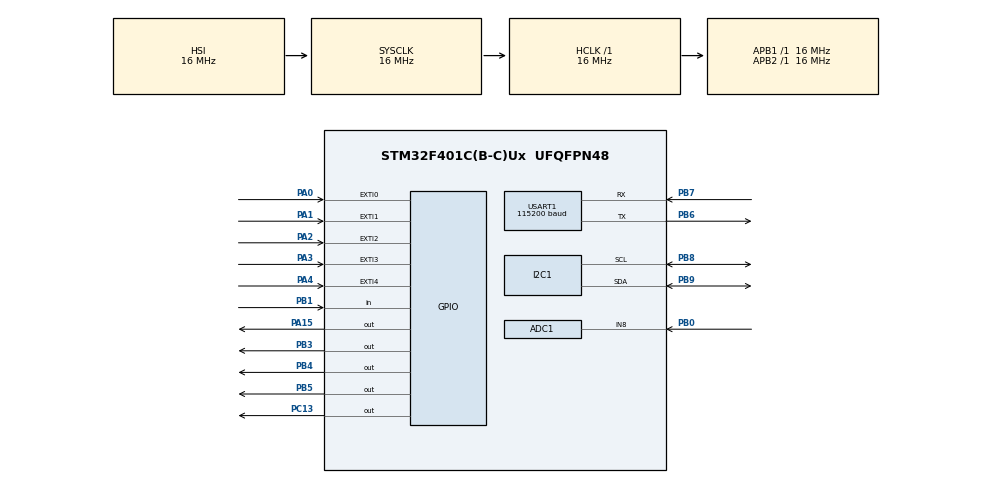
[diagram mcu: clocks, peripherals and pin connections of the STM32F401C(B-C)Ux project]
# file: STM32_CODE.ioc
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ADC1.Channel-0\#ChannelRegularConversion=ADC_CHANNEL_8
ADC1.ContinuousConvMode=ENABLE
ADC1.NbrOfConversionFlag=1
ADC1.Rank-0\#ChannelRegularConversion=1
ADC1.SamplingTime-0\#ChannelRegularConversion=ADC_SAMPLETIME_480CYCLES
ADC1.ScanConvMode=ENABLE
ADC1.master=1
Dma.ADC1.0.Direction=DMA_PERIPH_TO_MEMORY
Dma.ADC1.0.FIFOMode=DMA_FIFOMODE_DISABLE
Dma.ADC1.0.Instance=DMA2_Stream0
Dma.ADC1.0.MemDataAlignment=DMA_MDATAALIGN_HALFWORD
Dma.ADC1.0.MemInc=DMA_MINC_ENABLE
Dma.ADC1.0.Mode=DMA_CIRCULAR
Dma.ADC1.0.PeriphDataAlignment=DMA_PDATAALIGN_HALFWORD
Dma.ADC1.0.PeriphInc=DMA_PINC_DISABLE
Dma.ADC1.0.Priority=DMA_PRIORITY_LOW
Dma.Request0=ADC1
Mcu.Family=STM32F4
Mcu.Name=STM32F401C(B-C)Ux
Mcu.Package=UFQFPN48
NVIC.DMA2_Stream0_IRQn=true\:0\:0\:false\:false\:true\:false\:true\:true
NVIC.EXTI0_IRQn=true\:1\:0\:true\:false\:true\:true\:true\:true
NVIC.EXTI1_IRQn=true\:1\:0\:true\:false\:true\:true\:true\:true
NVIC.EXTI2_IRQn=true\:1\:0\:true\:false\:true\:true\:true\:true
NVIC.EXTI3_IRQn=true\:1\:0\:true\:false\:true\:true\:true\:true
NVIC.EXTI4_IRQn=true\:1\:0\:true\:false\:true\:true\:true\:true
NVIC.PriorityGroup=NVIC_PRIORITYGROUP_4
NVIC.TIM3_IRQn=true\:0\:0\:true\:false\:true\:true\:true\:true
NVIC.USART1_IRQn=true\:0\:0\:true\:false\:true\:true\:true\:true
PA0-WKUP.GPIO_ModeDefaultEXTI=GPIO_MODE_IT_FALLING
PA0-WKUP.GPIO_PuPd=GPIO_PULLUP
PA0-WKUP.Signal=GPXTI0
PA1.GPIO_ModeDefaultEXTI=GPIO_MODE_IT_FALLING
PA1.GPIO_PuPd=GPIO_PULLUP
PA1.Signal=GPXTI1
PA13.Mode=Serial_Wire
PA13.Signal=SYS_JTMS-SWDIO
PA14.Mode=Serial_Wire
PA14.Signal=SYS_JTCK-SWCLK
PA15.Signal=GPIO_Output
PA2.GPIO_ModeDefaultEXTI=GPIO_MODE_IT_FALLING
PA2.GPIO_PuPd=GPIO_PULLUP
PA2.Signal=GPXTI2
PA3.GPIO_ModeDefaultEXTI=GPIO_MODE_IT_FALLING
PA3.GPIO_PuPd=GPIO_PULLUP
PA3.Signal=GPXTI3
PA4.GPIO_ModeDefaultEXTI=GPIO_MODE_IT_FALLING
PA4.GPIO_PuPd=GPIO_PULLUP
PA4.Signal=GPXTI4
PB0.Signal=ADCx_IN8
PB1.Signal=GPIO_Input
PB3.Signal=GPIO_Output
PB4.Signal=GPIO_Output
PB5.Signal=GPIO_Output
PB6.Mode=Asynchronous
PB6.Signal=USART1_TX
PB7.Mode=Asynchronous
PB7.Signal=USART1_RX
PB8.Mode=I2C
PB8.Signal=I2C1_SCL
PB9.Mode=I2C
PB9.Signal=I2C1_SDA
PC13-ANTI_TAMP.Signal=GPIO_Output
ProjectManager.HeapSize=0x200
ProjectManager.StackSize=0x400
ProjectManager.TargetToolchain=MDK-ARM V5.32
RCC.AHBFreq_Value=16000000
RCC.APB1Freq_Value=16000000
RCC.APB2Freq_Value=16000000
RCC.CortexFreq_Value=16000000
RCC.HSE_VALUE=25000000
RCC.HSI_VALUE=16000000
RCC.LSE_VALUE=32768
RCC.SYSCLKFreq_VALUE=16000000
RCC.VCOOutputFreq_Value=192000000
SH.ADCx_IN8.0=ADC1_IN8,IN8
TIM3.Period=16000 - 1
TIM3.Prescaler=1000 - 1
USART1.BaudRate=115200
USART1.VirtualMode=VM_ASYNC
VP_TIM3_VS_ClockSourceINT.Mode=Internal
board=custom

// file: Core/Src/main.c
/* USER CODE BEGIN Header */
/**
  ******************************************************************************
  * @file           : main.c
  * @brief          : Main program body
  ******************************************************************************
  * @attention
  *
  * Copyright (c) 2024 STMicroelectronics.
  * All rights reserved.
  *
  * This software is licensed under terms that can be found in the LICENSE file
  * in the root directory of this software component.
  * If no LICENSE file comes with this software, it is provided AS-IS.
  *
  ******************************************************************************
  */
/* USER CODE END Header */
#include "main.h"

/* USER CODE BEGIN Includes */
#include "stdio.h"
#include "string.h"
#include "BH1750.h"
#include "DHT.h"
#include "LCD.h"

/* USER CODE END Includes */

ADC_HandleTypeDef hadc1;
DMA_HandleTypeDef hdma_adc1;

I2C_HandleTypeDef hi2c1;

TIM_HandleTypeDef htim3;

UART_HandleTypeDef huart1;

void SystemClock_Config(void);
static void MX_GPIO_Init(void);
static void MX_DMA_Init(void);
static void MX_ADC1_Init(void);
static void MX_I2C1_Init(void);
static void MX_TIM3_Init(void);
static void MX_USART1_UART_Init(void);

/* USER CODE BEGIN 0 */
uint32_t AD[1];
int  cuong_do_sang, mode, trang_thai_thiet_bi, trang_thai_thiet_bi_cuoi_cung, tb1, tb2, tb3, tb4, rx_index;
float nhiet_do, do_am, do_am_dat;
const char *trang_thai[2] = {"OFF", "ON"};
char tx_data[100], rx_data[100];

void Hien_thi(void)
{
	LCD_xy(0, 0);
	LCD_ghi_chuoi("NHIET DO:     *C");
	LCD_xy(1, 0);
	LCD_ghi_chuoi("DO AM:         %");
	LCD_xy(2, 0);
	LCD_ghi_chuoi("DO AM DAT:     %");
	LCD_xy(3, 0);
	LCD_ghi_chuoi("CDAS:          L");
	LCD_xy(0, 10);
	LCD_ghi_so_thuc(nhiet_do, 1);
	LCD_xy(1, 10);
	LCD_ghi_so_thuc(do_am, 1);
	LCD_xy(2, 10);
	LCD_ghi_so_thuc(do_am_dat, 1);
	LCD_xy(3, 10);
	LCD_ghi_so_thuc(cuong_do_sang, 0);
}

void Cap_nhat_trang_thai_thiet_bi(void)
{
	trang_thai_thiet_bi = tb1 + 2*tb2 +4*tb3 + 8*tb4;
		if (trang_thai_thiet_bi != trang_thai_thiet_bi_cuoi_cung)
		{
			HAL_GPIO_WritePin(GPIOB, GPIO_PIN_5, tb1);
			HAL_GPIO_WritePin(GPIOB, GPIO_PIN_4, tb2);
			HAL_GPIO_WritePin(GPIOB, GPIO_PIN_3, tb3);
			HAL_GPIO_WritePin(GPIOA, GPIO_PIN_15, tb4);
			trang_thai_thiet_bi_cuoi_cung = trang_thai_thiet_bi;

			LCD_xy(0, 0);
			LCD_ghi_chuoi("PHUN SUONG:     ");
			LCD_xy(1, 0);
			LCD_ghi_chuoi("MAY BOM:        ");
			LCD_xy(2, 0);
			LCD_ghi_chuoi("QUAT:           ");
			LCD_xy(3, 0);
			LCD_ghi_chuoi("DEN:            ");
			LCD_xy(0, 13);
			LCD_ghi_chuoi((char*)trang_thai[tb1]);
			LCD_xy(1, 13);
			LCD_ghi_chuoi((char*)trang_thai[tb2]);
			LCD_xy(2, 13);
			LCD_ghi_chuoi((char*)trang_thai[tb3]);
			LCD_xy(3, 13);
			LCD_ghi_chuoi((char*)trang_thai[tb4]);
			HAL_Delay(200);
		}
}

void Dieu_khien_tu_dong(void)
{
	if (nhiet_do > 30)
		tb3 = 1;
	else
		tb3 = 0;
	if (do_am < 80)
		tb1 = 1;
	else
		tb1 = 0;
	if (do_am_dat < 50)
		tb2 = 1;
	else
		tb2 = 0;

	Cap_nhat_trang_thai_thiet_bi();
}

void HAL_GPIO_EXTI_Callback(uint16_t GPIO_Pin)
{
	if(GPIO_Pin == GPIO_PIN_0)
	{
		if (HAL_GPIO_ReadPin(GPIOA, GPIO_PIN_0) == 0)
		{
			mode = (mode + 1) % 3;
			tb1 = 0;
			tb2 = 0;
			tb3 = 0;
			tb4 = 0;
			if (mode == 2)
				HAL_UART_Receive_IT(&huart1, (uint8_t *)&rx_data[rx_index], 1);
		}
	}

	if (mode == 1)
	{
		if(GPIO_Pin == GPIO_PIN_1)
		{
			if (HAL_GPIO_ReadPin(GPIOA, GPIO_PIN_1) == 0)
				tb1 = 1 - tb1;
		}
		else if(GPIO_Pin == GPIO_PIN_2)
		{
			if (HAL_GPIO_ReadPin(GPIOA, GPIO_PIN_2) == 0)
				tb2 = 1 - tb2;
		}
		else if(GPIO_Pin == GPIO_PIN_3)
		{
			if (HAL_GPIO_ReadPin(GPIOA, GPIO_PIN_3) == 0)
				tb3 = 1 - tb3;
		}
		else if(GPIO_Pin == GPIO_PIN_4)
		{
			if (HAL_GPIO_ReadPin(GPIOA, GPIO_PIN_4) == 0)
				tb4 = 1 - tb4;
		}
		Cap_nhat_trang_thai_thiet_bi();
	}
}

void Truyen_UART() {
    int tx_length = snprintf(tx_data, sizeof(tx_data), "%d %.2f %.2f %.2f %d %d\n",
                             mode, nhiet_do, do_am, do_am_dat, cuong_do_sang, trang_thai_thiet_bi);
    HAL_UART_Transmit(&huart1, (uint8_t*)tx_data, tx_length, HAL_MAX_DELAY);
}

void HAL_UART_RxCpltCallback(UART_HandleTypeDef *huart) {
  if (huart->Instance == USART1) {
    if (rx_data[rx_index] == '\n') {
      rx_data[rx_index + 1] = '\0';
      sscanf(rx_data, "%d %d %d %d\n", &tb1, &tb2, &tb3, &tb4);
      rx_index = 0;
    } else {
      rx_index++;
    }
    if (mode == 2)
      HAL_UART_Receive_IT(&huart1, (uint8_t *)&rx_data[rx_index], 1);
  }
}

void HAL_TIM_PeriodElapsedCallback(TIM_HandleTypeDef *htim)
{
	if(htim->Instance == TIM3)
	{
		Truyen_UART();
		HAL_GPIO_TogglePin(GPIOC, GPIO_PIN_13);
	}
}

/* USER CODE END 0 */

int main(void)
{

  /* MCU Configuration--------------------------------------------------------*/

  /* Reset of all peripherals, Initializes the Flash interface and the Systick. */
  HAL_Init();

  /* Configure the system clock */
  SystemClock_Config();

  /* Initialize all configured peripherals */
  MX_GPIO_Init();
  MX_DMA_Init();
  MX_ADC1_Init();
  MX_I2C1_Init();
  MX_TIM3_Init();
  MX_USART1_UART_Init();
  /* USER CODE BEGIN 2 */
	LCD_Init(&hi2c1);
	BH1750_Init(&hi2c1);
	DHT_sensor dht = {GPIOB, GPIO_PIN_1, DHT22, GPIO_PULLUP};
	HAL_TIM_Base_Start_IT(&htim3);
	mode = 0;
	LCD_xy(0, 0);
	LCD_ghi_chuoi("     NHOM 2     ");
	LCD_xy(1, 0);
	LCD_ghi_chuoi(" PHAM TIEN DAT  ");
	LCD_xy(2, 0);
	LCD_ghi_chuoi("NGUYN NGOC HUYEN");
	LCD_xy(3, 0);
	LCD_ghi_chuoi("TRUONG VAN LINH ");
	HAL_Delay(1000);
  /* USER CODE END 2 */

  /* Infinite loop */
  while (1)
  {

    /* USER CODE BEGIN 3 */
		nhiet_do = DHT_getData(&dht).nhiet_do;
		do_am = DHT_getData(&dht).do_am;
		HAL_ADC_Start_DMA(&hadc1,(uint32_t*)AD, 1);
		do_am_dat = 100 - AD[0]/40.95;
		cuong_do_sang = BH1750_Read();

		Hien_thi();

		if (mode == 0)
			Dieu_khien_tu_dong();
		else if (mode == 2)
			Cap_nhat_trang_thai_thiet_bi();

		HAL_Delay(1000);
  }
  /* USER CODE END 3 */
}

void SystemClock_Config(void)
{
  RCC_OscInitTypeDef RCC_OscInitStruct = {0};
  RCC_ClkInitTypeDef RCC_ClkInitStruct = {0};

  /** Configure the main internal regulator output voltage
  */
  __HAL_RCC_PWR_CLK_ENABLE();
  __HAL_PWR_VOLTAGESCALING_CONFIG(PWR_REGULATOR_VOLTAGE_SCALE2);

  /** Initializes the RCC Oscillators according to the specified parameters
  * in the RCC_OscInitTypeDef structure.
  */
  RCC_OscInitStruct.OscillatorType = RCC_OSCILLATORTYPE_HSI;
  RCC_OscInitStruct.HSIState = RCC_HSI_ON;
  RCC_OscInitStruct.HSICalibrationValue = RCC_HSICALIBRATION_DEFAULT;
  RCC_OscInitStruct.PLL.PLLState = RCC_PLL_NONE;
  if (HAL_RCC_OscConfig(&RCC_OscInitStruct) != HAL_OK)
  {
    Error_Handler();
  }

  /** Initializes the CPU, AHB and APB buses clocks
  */
  RCC_ClkInitStruct.ClockType = RCC_CLOCKTYPE_HCLK|RCC_CLOCKTYPE_SYSCLK
                              |RCC_CLOCKTYPE_PCLK1|RCC_CLOCKTYPE_PCLK2;
  RCC_ClkInitStruct.SYSCLKSource = RCC_SYSCLKSOURCE_HSI;
  RCC_ClkInitStruct.AHBCLKDivider = RCC_SYSCLK_DIV1;
  RCC_ClkInitStruct.APB1CLKDivider = RCC_HCLK_DIV1;
  RCC_ClkInitStruct.APB2CLKDivider = RCC_HCLK_DIV1;

  if (HAL_RCC_ClockConfig(&RCC_ClkInitStruct, FLASH_LATENCY_0) != HAL_OK)
  {
    Error_Handler();
  }
}

static void MX_ADC1_Init(void)
{

  ADC_ChannelConfTypeDef sConfig = {0};

  /** Configure the global features of the ADC (Clock, Resolution, Data Alignment and number of conversion)
  */
  hadc1.Instance = ADC1;
  hadc1.Init.ClockPrescaler = ADC_CLOCK_SYNC_PCLK_DIV2;
  hadc1.Init.Resolution = ADC_RESOLUTION_12B;
  hadc1.Init.ScanConvMode = ENABLE;
  hadc1.Init.ContinuousConvMode = ENABLE;
  hadc1.Init.DiscontinuousConvMode = DISABLE;
  hadc1.Init.ExternalTrigConvEdge = ADC_EXTERNALTRIGCONVEDGE_NONE;
  hadc1.Init.ExternalTrigConv = ADC_SOFTWARE_START;
  hadc1.Init.DataAlign = ADC_DATAALIGN_RIGHT;
  hadc1.Init.NbrOfConversion = 1;
  hadc1.Init.DMAContinuousRequests = DISABLE;
  hadc1.Init.EOCSelection = ADC_EOC_SINGLE_CONV;
  if (HAL_ADC_Init(&hadc1) != HAL_OK)
  {
    Error_Handler();
  }

  /** Configure for the selected ADC regular channel its corresponding rank in the sequencer and its sample time.
  */
  sConfig.Channel = ADC_CHANNEL_8;
  sConfig.Rank = 1;
  sConfig.SamplingTime = ADC_SAMPLETIME_480CYCLES;
  if (HAL_ADC_ConfigChannel(&hadc1, &sConfig) != HAL_OK)
  {
    Error_Handler();
  }

}

static void MX_I2C1_Init(void)
{

  hi2c1.Instance = I2C1;
  hi2c1.Init.ClockSpeed = 100000;
  hi2c1.Init.DutyCycle = I2C_DUTYCYCLE_2;
  hi2c1.Init.OwnAddress1 = 0;
  hi2c1.Init.AddressingMode = I2C_ADDRESSINGMODE_7BIT;
  hi2c1.Init.DualAddressMode = I2C_DUALADDRESS_DISABLE;
  hi2c1.Init.OwnAddress2 = 0;
  hi2c1.Init.GeneralCallMode = I2C_GENERALCALL_DISABLE;
  hi2c1.Init.NoStretchMode = I2C_NOSTRETCH_DISABLE;
  if (HAL_I2C_Init(&hi2c1) != HAL_OK)
  {
    Error_Handler();
  }

}

static void MX_TIM3_Init(void)
{

  TIM_ClockConfigTypeDef sClockSourceConfig = {0};
  TIM_MasterConfigTypeDef sMasterConfig = {0};

  htim3.Instance = TIM3;
  htim3.Init.Prescaler = 1000 - 1;
  htim3.Init.CounterMode = TIM_COUNTERMODE_UP;
  htim3.Init.Period = 16000 - 1;
  htim3.Init.ClockDivision = TIM_CLOCKDIVISION_DIV1;
  htim3.Init.AutoReloadPreload = TIM_AUTORELOAD_PRELOAD_DISABLE;
  if (HAL_TIM_Base_Init(&htim3) != HAL_OK)
  {
    Error_Handler();
  }
  sClockSourceConfig.ClockSource = TIM_CLOCKSOURCE_INTERNAL;
  if (HAL_TIM_ConfigClockSource(&htim3, &sClockSourceConfig) != HAL_OK)
  {
    Error_Handler();
  }
  sMasterConfig.MasterOutputTrigger = TIM_TRGO_RESET;
  sMasterConfig.MasterSlaveMode = TIM_MASTERSLAVEMODE_DISABLE;
  if (HAL_TIMEx_MasterConfigSynchronization(&htim3, &sMasterConfig) != HAL_OK)
  {
    Error_Handler();
  }

}

static void MX_USART1_UART_Init(void)
{

  huart1.Instance = USART1;
  huart1.Init.BaudRate = 115200;
  huart1.Init.WordLength = UART_WORDLENGTH_8B;
  huart1.Init.StopBits = UART_STOPBITS_1;
  huart1.Init.Parity = UART_PARITY_NONE;
  huart1.Init.Mode = UART_MODE_TX_RX;
  huart1.Init.HwFlowCtl = UART_HWCONTROL_NONE;
  huart1.Init.OverSampling = UART_OVERSAMPLING_16;
  if (HAL_UART_Init(&huart1) != HAL_OK)
  {
    Error_Handler();
  }

}

static void MX_DMA_Init(void)
{

  /* DMA controller clock enable */
  __HAL_RCC_DMA2_CLK_ENABLE();

  /* DMA interrupt init */
  /* DMA2_Stream0_IRQn interrupt configuration */
  HAL_NVIC_SetPriority(DMA2_Stream0_IRQn, 0, 0);
  HAL_NVIC_EnableIRQ(DMA2_Stream0_IRQn);

}

static void MX_GPIO_Init(void)
{
  GPIO_InitTypeDef GPIO_InitStruct = {0};

  /* GPIO Ports Clock Enable */
  __HAL_RCC_GPIOC_CLK_ENABLE();
  __HAL_RCC_GPIOA_CLK_ENABLE();
  __HAL_RCC_GPIOB_CLK_ENABLE();

  /*Configure GPIO pin Output Level */
  HAL_GPIO_WritePin(GPIOC, GPIO_PIN_13, GPIO_PIN_RESET);

  /*Configure GPIO pin Output Level */
  HAL_GPIO_WritePin(GPIOA, GPIO_PIN_15, GPIO_PIN_RESET);

  /*Configure GPIO pin Output Level */
  HAL_GPIO_WritePin(GPIOB, GPIO_PIN_3|GPIO_PIN_4|GPIO_PIN_5, GPIO_PIN_RESET);

  /*Configure GPIO pin : PC13 */
  GPIO_InitStruct.Pin = GPIO_PIN_13;
  GPIO_InitStruct.Mode = GPIO_MODE_OUTPUT_PP;
  GPIO_InitStruct.Pull = GPIO_NOPULL;
  GPIO_InitStruct.Speed = GPIO_SPEED_FREQ_LOW;
  HAL_GPIO_Init(GPIOC, &GPIO_InitStruct);

  /*Configure GPIO pins : PA0 PA1 PA2 PA3
                           PA4 */
  GPIO_InitStruct.Pin = GPIO_PIN_0|GPIO_PIN_1|GPIO_PIN_2|GPIO_PIN_3
                          |GPIO_PIN_4;
  GPIO_InitStruct.Mode = GPIO_MODE_IT_FALLING;
  GPIO_InitStruct.Pull = GPIO_PULLUP;
  HAL_GPIO_Init(GPIOA, &GPIO_InitStruct);

  /*Configure GPIO pin : PB1 */
  GPIO_InitStruct.Pin = GPIO_PIN_1;
  GPIO_InitStruct.Mode = GPIO_MODE_INPUT;
  GPIO_InitStruct.Pull = GPIO_NOPULL;
  HAL_GPIO_Init(GPIOB, &GPIO_InitStruct);

  /*Configure GPIO pin : PA15 */
  GPIO_InitStruct.Pin = GPIO_PIN_15;
  GPIO_InitStruct.Mode = GPIO_MODE_OUTPUT_PP;
  GPIO_InitStruct.Pull = GPIO_NOPULL;
  GPIO_InitStruct.Speed = GPIO_SPEED_FREQ_LOW;
  HAL_GPIO_Init(GPIOA, &GPIO_InitStruct);

  /*Configure GPIO pins : PB3 PB4 PB5 */
  GPIO_InitStruct.Pin = GPIO_PIN_3|GPIO_PIN_4|GPIO_PIN_5;
  GPIO_InitStruct.Mode = GPIO_MODE_OUTPUT_PP;
  GPIO_InitStruct.Pull = GPIO_NOPULL;
  GPIO_InitStruct.Speed = GPIO_SPEED_FREQ_LOW;
  HAL_GPIO_Init(GPIOB, &GPIO_InitStruct);

  /* EXTI interrupt init*/
  HAL_NVIC_SetPriority(EXTI0_IRQn, 1, 0);
  HAL_NVIC_EnableIRQ(EXTI0_IRQn);

  HAL_NVIC_SetPriority(EXTI1_IRQn, 1, 0);
  HAL_NVIC_EnableIRQ(EXTI1_IRQn);

  HAL_NVIC_SetPriority(EXTI2_IRQn, 1, 0);
  HAL_NVIC_EnableIRQ(EXTI2_IRQn);

  HAL_NVIC_SetPriority(EXTI3_IRQn, 1, 0);
  HAL_NVIC_EnableIRQ(EXTI3_IRQn);

  HAL_NVIC_SetPriority(EXTI4_IRQn, 1, 0);
  HAL_NVIC_EnableIRQ(EXTI4_IRQn);

}

void Error_Handler(void)
{
  __disable_irq();
  while (1)
  {
  }
}
